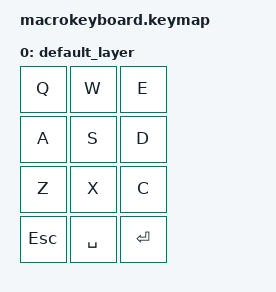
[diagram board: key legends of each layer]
/*
 * Copyright (c) 2020 The ZMK Contributors
 *
 * SPDX-License-Identifier: MIT
 */

#include <behaviors.dtsi>
#include <dt-bindings/zmk/keys.h>
#include <dt-bindings/zmk/bt.h>

/ {
    keymap {
        compatible = "zmk,keymap";

        default_layer {
            bindings = <
                &kp Q &kp W &kp E      // Linha 0
                &kp A &kp S &kp D      // Linha 1
                &kp Z &kp X &kp C      // Linha 2
                &kp ESC &kp SPACE &kp ENTER  // Linha 3
            >;
        };
    };
};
